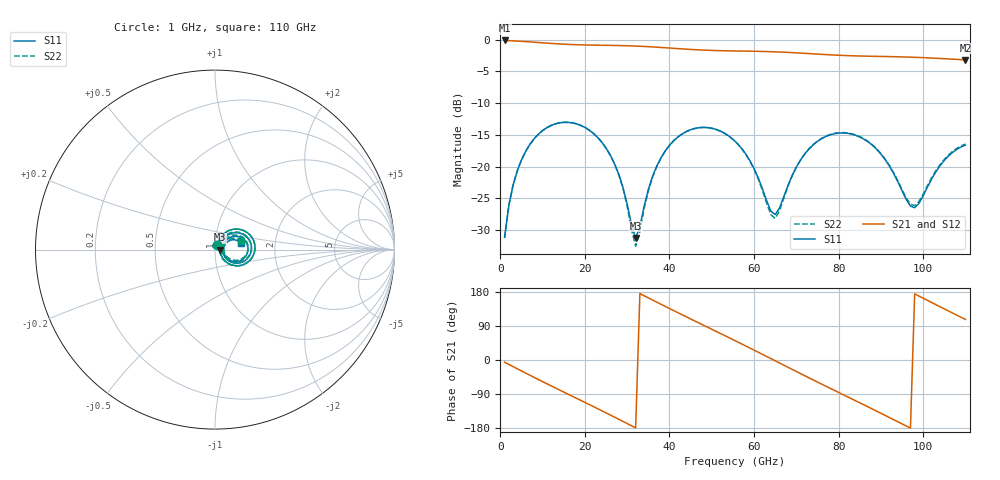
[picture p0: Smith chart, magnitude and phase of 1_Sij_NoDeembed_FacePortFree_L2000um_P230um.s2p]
! Touchstone file exported from HFSS 2024.2.0
!  File:  C:/Users/vaintrug/Documents/Ansoft_Workspace/Comparaison_Calculs_HFSS/1_VarPort.aedt
!  Generated:  03:22:18 PM Jan 21, 2025
!  Design:  1_NoDeembed_FacePortFree
!  Project:  1_VarPort
!  Setup:  Setup1
!  Solution:  Sweep
! Variables:
!  $Lenght = 2000um
!  $PortSize = 230um
!  Gap = 30um
!  Th = 2um
!  X_centralStrip = 20um
!  X_masse = 200um
!  Y_Sub = 2mm
!  Z_Box = 400um
!  Z_Sub = 200um
# GHz S MA R 50.000000
! Terminal data exported
! Port[1] = 1
! Port[2] = 2
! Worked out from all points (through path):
!   110 points, 1 GHz to 110 GHz, reference 50 ohm
!   highest |S21| = -0.13 dB at 1 GHz (marker M1); lowest = -3.2 dB at 110 GHz (marker M2)
!   group delay of S21, straight-line fit = 15.4 ps
!   lowest |S11| = -31.3 dB at 32 GHz (marker M3), VSWR 1.06, Z = 52.8 + j0.0134 ohm
!   |S11| at or under -10 dB: start of sweep to end of sweep
!   |S22| runs from -32.5 to -13.0 dB; largest |S21 - S12| = 1.2e-14
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1  0.02768 61.3  0.9854 -5.9  0.9854 -5.9  0.02768 61.3
! Gamma 5.95414650766567 50.0339571593922 5.81633623382005 49.871652457964
! Port Impedance 50 0 50 0
3  0.07129 65.8  0.9783 -17.4  0.9783 -17.4  0.07131 65.8
7  0.1498 48.7  0.96 -40.3  0.96 -40.3  0.1499 48.8
13  0.2169 18.0  0.9296 -73.7  0.9296 -73.7  0.217 18.0
20  0.2035 -17.0  0.9084 -112.0  0.9084 -112.0  0.2035 -17.2
27  0.1054 -46.3  0.8999 -150.8  0.8999 -150.8  0.1049 -47.5
32  0.02734 0.3  0.8901 -179.1  0.8901 -179.1  0.0236 0.5
35  0.06591 51.8  0.8802 163.9  0.8802 163.9  0.0645 55.6
38  0.1175 47.2  0.8678 147.0  0.8678 147.0  0.1169 49.8
43  0.1808 26.9  0.8456 119.3  0.8456 119.3  0.1807 28.8
47  0.2025 8.8  0.8307 97.5  0.8307 97.5  0.2025 10.6
51  0.1963 -9.0  0.8206 75.8  0.8206 75.8  0.1963 -7.5
56  0.1526 -29.5  0.8138 48.4  0.8138 48.4  0.1522 -28.2
61  0.08136 -39.3  0.8086 20.5  0.8086 20.5  0.07991 -38.8
65  0.04185 3.9  0.8015 -2.0  0.8015 -2.0  0.03905 7.1
70  0.09897 39.7  0.7871 -30.2  0.7871 -30.2  0.09866 43.8
74  0.1484 29.0  0.7729 -52.5  0.7729 -52.5  0.1489 32.6
83  0.1806 -7.2  0.7468 -102.0  0.7468 -102.0  0.1818 -3.6
92  0.1013 -35.9  0.7351 -151.7  0.7351 -151.7  0.1025 -31.8
98  0.04745 1.9  0.726 174.5  0.726 174.5  0.04921 5.8
103  0.09069 32.1  0.7136 146.2  0.7136 146.2  0.09254 35.6
110  0.1477 13.6  0.6934 107.1  0.6934 107.1  0.1506 18.1
